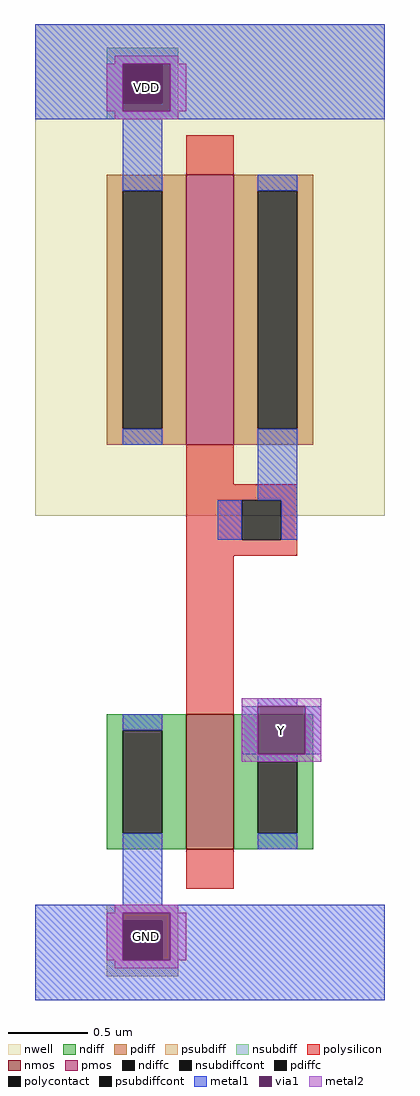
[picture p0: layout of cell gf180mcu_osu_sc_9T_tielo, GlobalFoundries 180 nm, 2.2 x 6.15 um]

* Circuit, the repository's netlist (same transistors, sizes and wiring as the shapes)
.option scale=0.05u

.subckt gf180mcu_osu_sc_9T_tielo Y
X0 Y a_19_14 GND GND nmos_3p3 w=17 l=6
X1 a_19_14 a_19_14 VDD VDD pmos_3p3 w=34 l=6
.ends

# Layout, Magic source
magic
tech gf180mcuC
<< nwell >>
rect 0 97 44 159
<< nmos >>
rect 19 55 25 72
<< pmos >>
rect 19 106 25 140
<< ndiff >>
rect 9 70 19 72
rect 9 57 11 70
rect 16 57 19 70
rect 9 55 19 57
rect 25 66 35 72
rect 25 57 28 66
rect 33 57 35 66
rect 25 55 35 57
<< pdiff >>
rect 9 138 19 140
rect 9 108 11 138
rect 16 108 19 138
rect 9 106 19 108
rect 25 138 35 140
rect 25 108 28 138
rect 33 108 35 138
rect 25 106 35 108
<< ndiffc >>
rect 11 57 16 70
rect 28 57 33 66
<< pdiffc >>
rect 11 108 16 138
rect 28 108 33 138
<< psubdiff >>
rect 9 46 18 48
rect 9 41 11 46
rect 16 41 18 46
rect 9 39 18 41
<< nsubdiff >>
rect 9 154 18 156
rect 9 149 11 154
rect 16 149 18 154
rect 9 147 18 149
<< psubdiffcont >>
rect 11 41 16 46
<< nsubdiffcont >>
rect 11 149 16 154
<< polysilicon >>
rect 19 140 25 145
rect 19 101 25 106
rect 19 99 33 101
rect 19 94 26 99
rect 31 94 33 99
rect 19 92 33 94
rect 19 72 25 92
rect 19 50 25 55
<< polycontact >>
rect 26 94 31 99
<< metal1 >>
rect 0 154 44 159
rect 0 148 11 154
rect 17 148 44 154
rect 0 147 44 148
rect 11 138 16 147
rect 11 106 16 108
rect 28 138 33 140
rect 28 99 33 108
rect 23 94 26 99
rect 31 94 33 99
rect 28 73 33 74
rect 11 70 16 72
rect 26 67 28 73
rect 34 67 36 73
rect 11 48 16 57
rect 28 66 33 67
rect 28 55 33 57
rect 0 47 44 48
rect 0 41 11 47
rect 17 41 44 47
rect 0 36 44 41
<< via1 >>
rect 11 149 16 154
rect 16 149 17 154
rect 11 148 17 149
rect 28 67 34 73
rect 11 46 17 47
rect 11 41 16 46
rect 16 41 17 46
<< metal2 >>
rect 10 154 18 155
rect 9 148 11 154
rect 17 148 19 154
rect 10 147 18 148
rect 26 73 36 74
rect 26 67 28 73
rect 34 67 36 73
rect 26 66 36 67
rect 10 47 18 48
rect 9 41 11 47
rect 17 41 19 47
rect 10 40 18 41
<< labels >>
rlabel metal2 14 151 14 151 1 VDD
rlabel metal2 14 44 14 44 1 GND
rlabel metal2 31 70 31 70 1 Y
port 2 n
<< end >>
